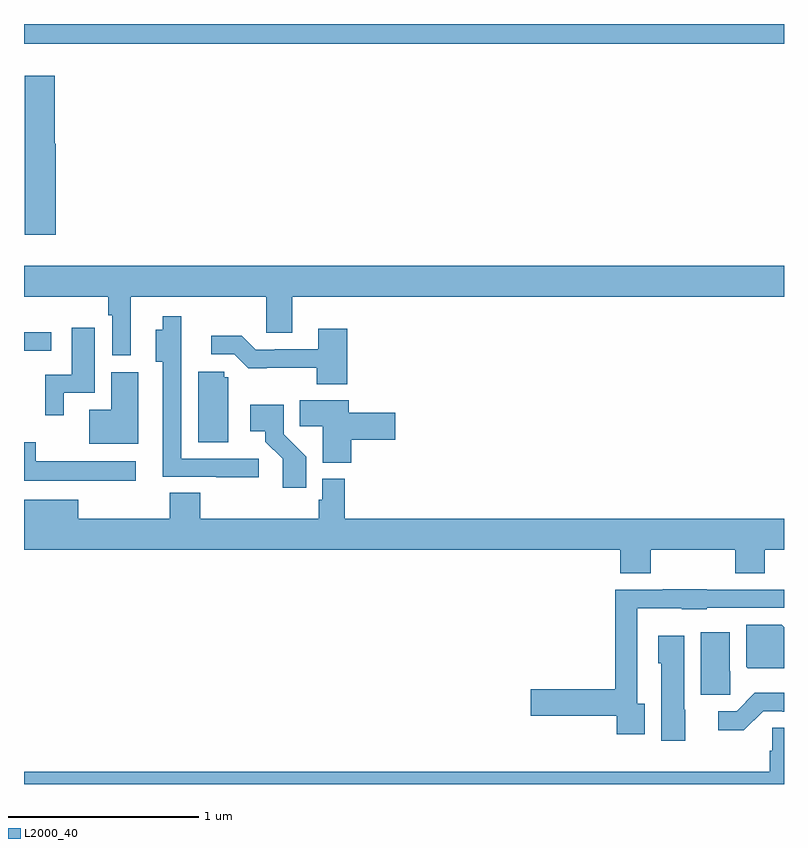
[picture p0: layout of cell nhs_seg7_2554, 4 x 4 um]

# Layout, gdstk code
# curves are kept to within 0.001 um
import gdstk
lib = gdstk.Library(unit=1e-6, precision=1e-09)
def R(c, l, rs):  # rectangles x0, y0, x1, y1
    for r in rs: c.add(gdstk.rectangle(r[:2], r[2:], *l))
def P(c, l, *ps):  # polygons
    for p in ps: c.add(gdstk.Polygon(p, *l))
L2000_40 = (2000, 40)

nhs_seg7_2554 = lib.new_cell('nhs_seg7_2554')
R(nhs_seg7_2554, L2000_40, [(277,1052.28,277.144,1052.378), (277,1053.896,281,1054)])
P(nhs_seg7_2554, L2000_40, [(277.168,1053.369),(277.163,1053.369),(277.163,1053.727),(277.004,1053.727),(277.004,1052.892),(277.168,1052.892)],
  [(277.561,1052.564),(278.274,1052.564),(278.274,1052.374),(278.413,1052.374),(278.413,1052.564),(281,1052.564),(281,1052.728),(277,1052.728),(277,1052.564),(277.444,1052.564),(277.444,1052.468),(277.464,1052.468),(277.464,1052.256),(277.561,1052.256)],
  [(278.236,1051.713),(277.827,1051.713),(277.827,1052.238),(277.828,1052.238),(277.828,1052.461),(277.73,1052.461),(277.73,1052.392),(277.694,1052.392),(277.694,1052.222),(277.73,1052.222),(277.73,1051.617),(278.011,1051.617),(278.011,1051.615),(278.236,1051.615)],
  [(277.21,1052.058),(277.372,1052.058),(277.372,1052.401),(277.25,1052.401),(277.25,1052.154),(277.112,1052.154),(277.112,1051.941),(277.21,1051.941)],
  [(278.702,1052.395),(278.549,1052.395),(278.549,1052.289),(278.32,1052.289),(278.32,1052.286),(278.22,1052.286),(278.147,1052.359),(277.986,1052.359),(277.986,1052.262),(278.106,1052.262),(278.179,1052.189),(278.542,1052.19),(278.542,1052.105),(278.702,1052.105)],
  [(278.074,1052.142),(278.055,1052.142),(278.055,1052.169),(277.916,1052.169),(277.916,1051.798),(278.074,1051.798)],
  [(277.6,1052.167),(277.46,1052.167),(277.46,1051.969),(277.343,1051.969),(277.343,1051.79),(277.6,1051.79)],
  [(278.723,1051.813),(278.953,1051.813),(278.953,1051.955),(278.71,1051.955),(278.71,1052.02),(278.452,1052.02),(278.452,1051.882),(278.573,1051.882),(278.573,1051.691),(278.723,1051.691)],
  [(278.486,1051.722),(278.367,1051.841),(278.367,1051.996),(278.19,1051.996),(278.19,1051.856),(278.27,1051.856),(278.27,1051.801),(278.361,1051.711),(278.361,1051.56),(278.486,1051.56)],
  [(277.588,1051.699),(277.063,1051.699),(277.063,1051.798),(277,1051.798),(277,1051.595),(277.588,1051.595)],
  [(280.299,1051.232),(280.744,1051.232),(280.744,1051.108),(280.899,1051.108),(280.899,1051.232),(281,1051.232),(281,1051.396),(278.687,1051.396),(278.687,1051.606),(278.571,1051.606),(278.571,1051.497),(278.551,1051.497),(278.551,1051.396),(277.928,1051.396),(277.928,1051.532),(277.768,1051.532),(277.768,1051.396),(277.285,1051.396),(277.285,1051.495),(277,1051.495),(277,1051.232),(280.139,1051.232),(280.139,1051.108),(280.299,1051.108)],
  [(280.267,1050.422),(280.227,1050.422),(280.227,1050.926),(280.461,1050.926),(280.461,1050.92),(280.593,1050.92),(280.593,1050.927),(281,1050.927),(281,1051.023),(280.593,1051.023),(280.593,1051.025),(280.361,1051.025),(280.361,1051.023),(280.111,1051.023),(280.111,1050.5),(279.666,1050.5),(279.666,1050.358),(280.119,1050.358),(280.119,1050.261),(280.267,1050.261)],
  [(281,1050.826),(280.988,1050.838),(280.802,1050.838),(280.802,1050.616),(280.81,1050.608),(281,1050.608)],
  [(280.718,1050.594),(280.714,1050.594),(280.714,1050.799),(280.562,1050.799),(280.562,1050.471),(280.718,1050.471)],
  [(280.48,1050.39),(280.474,1050.39),(280.474,1050.781),(280.337,1050.781),(280.337,1050.636),(280.355,1050.636),(280.355,1050.228),(280.48,1050.228)],
  [(280.89,1050.384),(280.99,1050.384),(280.99,1050.381),(281,1050.381),(281,1050.479),(280.847,1050.479),(280.752,1050.384),(280.653,1050.384),(280.653,1050.282),(280.788,1050.282)],
  [(281,1050.296),(280.938,1050.296),(280.938,1050.174),(280.925,1050.174),(280.925,1050.064),(277,1050.064),(277,1050),(281,1050)])

lib.write_gds('nhs_seg7_2554.gds')
